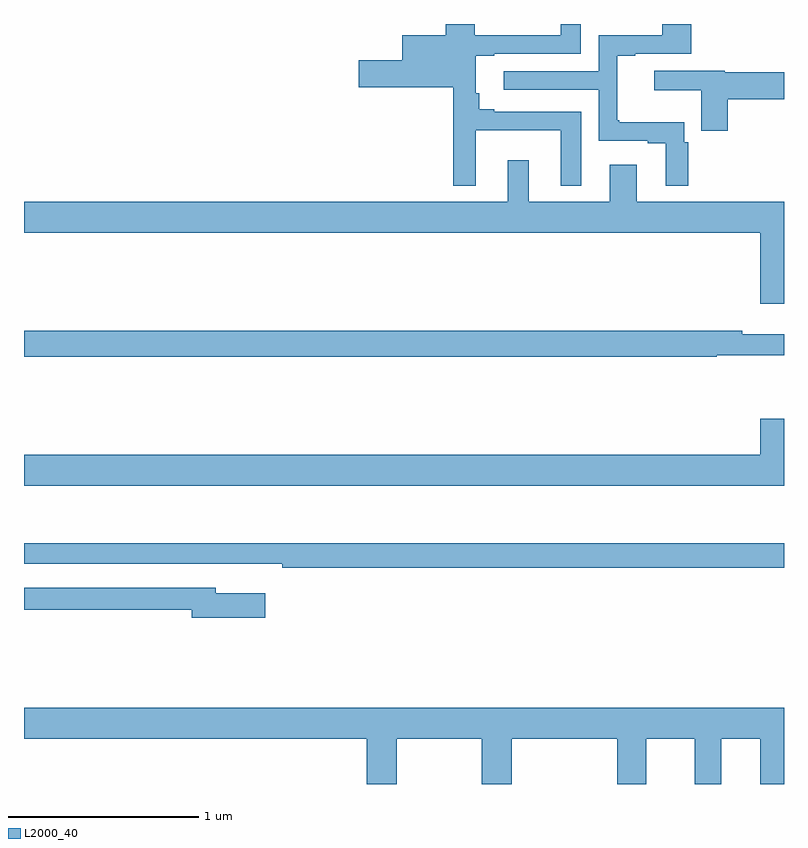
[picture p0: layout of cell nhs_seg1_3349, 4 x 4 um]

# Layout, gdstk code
import gdstk
lib = gdstk.Library(unit=1e-6, precision=1e-09)
def P(c, l, *ps):  # polygons
    for p in ps: c.add(gdstk.Polygon(p, *l))
L2000_40 = (2000, 40)

nhs_seg1_3349 = lib.new_cell('nhs_seg1_3349')
P(nhs_seg1_3349, L2000_40, [(295.378,517.64),(295.826,517.64),(295.826,517.349),(295.933,517.349),(295.933,517.737),(295.474,517.737),(295.474,517.75),(295.396,517.75),(295.396,517.834),(295.378,517.834),(295.378,518.031),(295.474,518.031),(295.474,518.043),(295.93,518.043),(295.93,518.199),(295.826,518.199),(295.826,518.139),(295.372,518.139),(295.372,518.199),(295.22,518.199),(295.22,518.14),(294.992,518.14),(294.992,518.007),(294.762,518.007),(294.762,517.865),(295.26,517.865),(295.26,517.349),(295.378,517.349)],
  [(296.495,517.577),(296.475,517.577),(296.475,517.681),(296.134,517.681),(296.134,517.693),(296.123,517.693),(296.123,518.031),(296.218,518.031),(296.218,518.043),(296.513,518.043),(296.513,518.199),(296.36,518.199),(296.36,518.139),(296.025,518.139),(296.025,517.95),(295.524,517.95),(295.524,517.854),(296.025,517.854),(296.025,517.584),(296.282,517.584),(296.282,517.572),(296.378,517.572),(296.378,517.349),(296.495,517.349)],
  [(296.705,517.802),(297,517.802),(297,517.944),(296.688,517.944),(296.688,517.954),(296.316,517.954),(296.316,517.85),(296.564,517.85),(296.564,517.638),(296.705,517.638)],
  [(297,517.264),(296.224,517.264),(296.224,517.459),(296.084,517.459),(296.084,517.264),(295.657,517.264),(295.657,517.483),(295.547,517.483),(295.547,517.264),(293,517.264),(293,517.1),(296.876,517.1),(296.876,516.726),(297,516.726)],
  [(296.645,516.456),(297,516.456),(297,516.565),(296.78,516.565),(296.78,516.584),(293,516.584),(293,516.448),(296.645,516.448)],
  [(297,516.121),(296.876,516.121),(296.876,515.932),(293,515.932),(293,515.768),(297,515.768)],
  [(297,515.467),(293,515.467),(293,515.358),(294.106,515.358),(294.106,515.357),(294.358,515.357),(294.358,515.338),(297,515.338)],
  [(294.271,515.203),(294.01,515.203),(294.01,515.232),(293,515.232),(293,515.116),(293.882,515.116),(293.882,515.074),(294.271,515.074)],
  [(294.963,514.436),(295.408,514.436),(295.408,514.199),(295.568,514.199),(295.568,514.436),(296.123,514.436),(296.123,514.199),(296.275,514.199),(296.275,514.436),(296.531,514.436),(296.531,514.199),(296.671,514.199),(296.671,514.436),(296.876,514.436),(296.876,514.199),(297,514.199),(297,514.6),(293,514.6),(293,514.436),(294.803,514.436),(294.803,514.199),(294.963,514.199)])

lib.write_gds('nhs_seg1_3349.gds')
